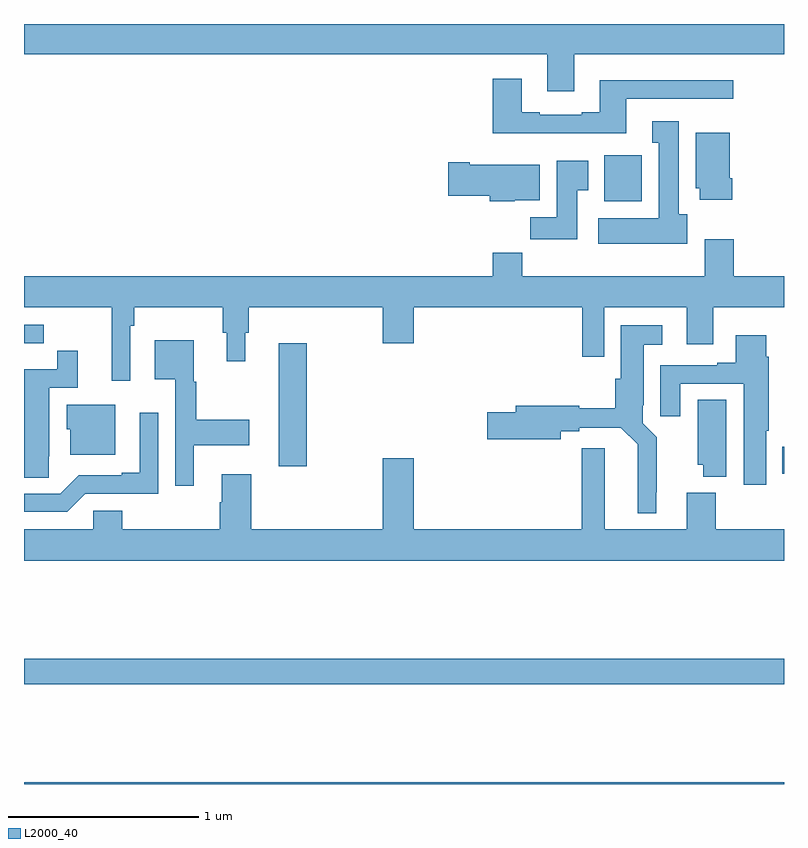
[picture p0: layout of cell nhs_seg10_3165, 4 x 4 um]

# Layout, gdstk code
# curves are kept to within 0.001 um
import gdstk
lib = gdstk.Library(unit=1e-6, precision=1e-09)
def R(c, l, rs):  # rectangles x0, y0, x1, y1
    for r in rs: c.add(gdstk.rectangle(r[:2], r[2:], *l))
def P(c, l, *ps):  # polygons
    for p in ps: c.add(gdstk.Polygon(p, *l))
L2000_40 = (2000, 40)

nhs_seg10_3165 = lib.new_cell('nhs_seg10_3165')
R(nhs_seg10_3165, L2000_40, [(283,1272.5,287,1272.508), (283,1273.024,287,1273.16), (286.992,1274.134,287,1274.276), (284.342,1274.172,284.489,1274.821), (283,1274.82,283.105,1274.916), (286.055,1275.566,286.252,1275.808)])
P(nhs_seg10_3165, L2000_40, [(285.895,1276.34),(287,1276.34),(287,1276.5),(283,1276.5),(283,1276.34),(285.755,1276.34),(285.755,1276.146),(285.895,1276.146)],
  [(286.171,1276.107),(286.732,1276.107),(286.732,1276.204),(286.031,1276.204),(286.031,1276.036),(285.935,1276.036),(285.935,1276.023),(285.715,1276.023),(285.715,1276.036),(285.619,1276.036),(285.619,1276.213),(285.467,1276.213),(285.467,1275.926),(286.171,1275.926)],
  [(286.492,1275.498),(286.447,1275.498),(286.447,1275.988),(286.307,1275.988),(286.307,1275.875),(286.34,1275.875),(286.34,1275.478),(286.023,1275.478),(286.023,1275.344),(286.492,1275.344)],
  [(286.727,1275.688),(286.714,1275.688),(286.714,1275.928),(286.535,1275.928),(286.535,1275.636),(286.556,1275.636),(286.556,1275.576),(286.727,1275.576)],
  [(285.913,1275.625),(285.97,1275.625),(285.97,1275.781),(285.803,1275.781),(285.803,1275.484),(285.664,1275.484),(285.664,1275.366),(285.913,1275.366)],
  [(285.582,1275.572),(285.715,1275.572),(285.715,1275.76),(285.346,1275.76),(285.346,1275.773),(285.234,1275.773),(285.234,1275.595),(285.452,1275.595),(285.452,1275.566),(285.582,1275.566)],
  [(283.56,1274.912),(283.58,1274.912),(283.58,1275.008),(284.047,1275.008),(284.047,1274.874),(284.066,1274.874),(284.066,1274.724),(284.164,1274.724),(284.164,1274.874),(284.183,1274.874),(284.183,1275.008),(284.888,1275.008),(284.888,1274.82),(285.052,1274.82),(285.052,1275.008),(285.937,1275.008),(285.937,1274.748),(286.053,1274.748),(286.053,1275.008),(286.487,1275.008),(286.487,1274.814),(286.627,1274.814),(286.627,1275.008),(287,1275.008),(287,1275.172),(286.736,1275.172),(286.736,1275.367),(286.583,1275.367),(286.583,1275.172),(285.623,1275.172),(285.623,1275.296),(285.467,1275.296),(285.467,1275.172),(283,1275.172),(283,1275.008),(283.463,1275.008),(283.463,1274.622),(283.56,1274.622)],
  [(286.327,1274.035),(286.331,1274.035),(286.331,1274.326),(286.257,1274.4),(286.257,1274.494),(286.261,1274.494),(286.261,1274.813),(286.36,1274.813),(286.36,1274.914),(286.142,1274.914),(286.142,1274.634),(286.112,1274.634),(286.112,1274.477),(285.922,1274.477),(285.922,1274.492),(285.587,1274.492),(285.587,1274.456),(285.438,1274.456),(285.438,1274.314),(285.826,1274.314),(285.826,1274.356),(285.922,1274.356),(285.922,1274.376),(286.142,1274.376),(286.23,1274.288),(286.229,1273.925),(286.327,1273.925)],
  [(286.906,1274.359),(286.919,1274.359),(286.919,1274.75),(286.906,1274.75),(286.906,1274.863),(286.745,1274.863),(286.745,1274.716),(286.649,1274.716),(286.649,1274.703),(286.349,1274.703),(286.349,1274.436),(286.453,1274.436),(286.453,1274.607),(286.787,1274.607),(286.787,1274.076),(286.906,1274.076)],
  [(283.894,1274.282),(284.185,1274.282),(284.185,1274.417),(283.906,1274.417),(283.906,1274.616),(283.894,1274.616),(283.894,1274.836),(283.688,1274.836),(283.688,1274.63),(283.797,1274.63),(283.797,1274.07),(283.894,1274.07)],
  [(283.131,1274.224),(283.132,1274.224),(283.132,1274.586),(283.283,1274.586),(283.283,1274.779),(283.174,1274.779),(283.174,1274.682),(283,1274.682),(283,1274.113),(283.131,1274.113)],
  [(286.696,1274.522),(286.547,1274.522),(286.547,1274.181),(286.574,1274.181),(286.574,1274.117),(286.696,1274.117)],
  [(283.48,1274.497),(283.226,1274.497),(283.226,1274.367),(283.244,1274.367),(283.244,1274.234),(283.48,1274.234)],
  [(283.323,1274.028),(283.707,1274.028),(283.707,1274.455),(283.61,1274.455),(283.61,1274.137),(283.514,1274.137),(283.514,1274.124),(283.287,1274.124),(283.191,1274.028),(283,1274.028),(283,1273.932),(283.227,1273.932)],
  [(287,1273.84),(286.64,1273.84),(286.64,1274.032),(286.487,1274.032),(286.487,1273.84),(286.057,1273.84),(286.057,1274.266),(285.935,1274.266),(285.935,1273.84),(285.052,1273.84),(285.052,1274.215),(284.888,1274.215),(284.888,1273.84),(284.195,1273.84),(284.195,1274.131),(284.042,1274.131),(284.042,1273.982),(284.03,1273.982),(284.03,1273.84),(283.517,1273.84),(283.517,1273.938),(283.365,1273.938),(283.365,1273.84),(283,1273.84),(283,1273.676),(287,1273.676)])

lib.write_gds('nhs_seg10_3165.gds')
